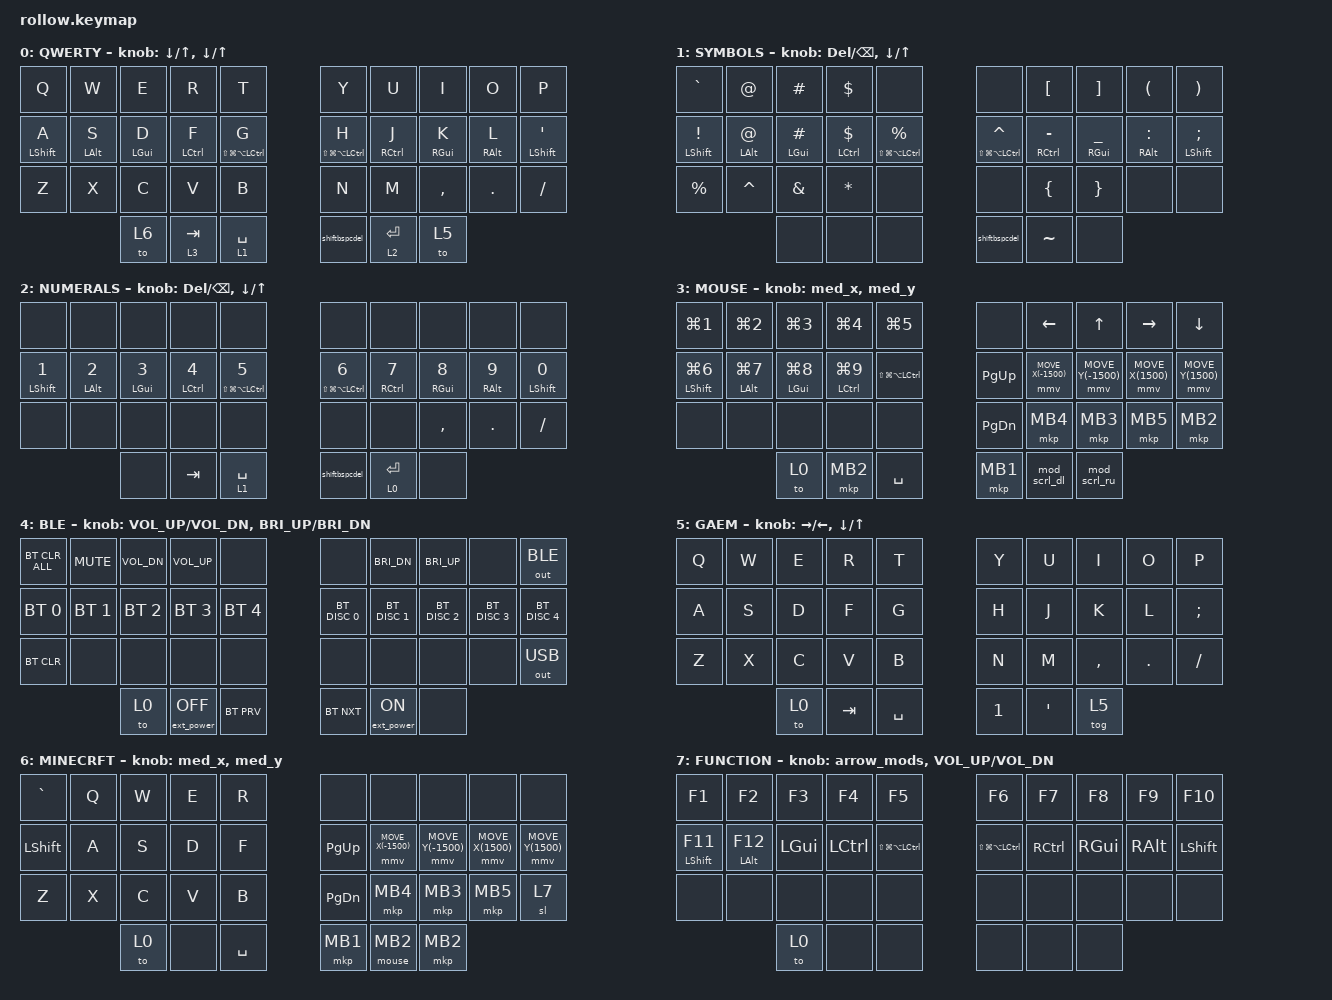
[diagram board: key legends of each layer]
//sudo west build -p -d build/left -b nice_nano_v2 -- -DSHIELD=rollow_left -DZMK_EXTRA_MODULES=/Users/ameer/keyboard/zmk-config
//sudo west build -p -d build/right -b nice_nano_v2 -- -DSHIELD=rollow_right -DZMK_EXTRA_MODULES=/Users/ameer/keyboard/zmk-config

#include <behaviors.dtsi>
#include <dt-bindings/zmk/keys.h>
#include <dt-bindings/zmk/mouse.h>
#include <dt-bindings/zmk/outputs.h>
#include <dt-bindings/zmk/bt.h>
#include <dt-bindings/zmk/ext_power.h>

&caps_word {
    continue-list = <UNDERSCORE MINUS BSPC>;
};

/ {
combos {
        compatible = "zmk,combos";
        combo_escape {
            timeout-ms = <50>;
            key-positions = <31 34>;
            bindings = <&kp ESC>;
            };
};
behaviors {    
        msc: mouse_scroll {
            compatible = "zmk,behavior-input-two-axis";
            #binding-cells = <1>;
            x-input-code = <INPUT_REL_HWHEEL>;
            y-input-code = <INPUT_REL_WHEEL>;
            time-to-max-speed-ms = <300>;
            acceleration-exponent = <0>;
        };
        mmv: mouse_move {
            compatible = "zmk,behavior-input-two-axis";
            #binding-cells = <1>;
            x-input-code = <INPUT_REL_X>;
            y-input-code = <INPUT_REL_Y>;
            time-to-max-speed-ms = <300>;
            acceleration-exponent = <1>;
        };
        hr: homerow_mods {
            compatible = "zmk,behavior-hold-tap";
            #binding-cells = <2>;
            flavor = "tap-preferred";
            tapping-term-ms = <200>;
            require-prior-idle-ms = <200>;
            bindings = <&kp>, <&kp>;
        };  
        kpkphp: kpkphp {
            compatible = "zmk,behavior-hold-tap";
            #binding-cells = <2>;
            tapping_term_ms = <200>;
            quick_tap_ms = <200>;
            flavor = "hold-preferred";
            bindings = <&kp>, <&kp>;
        }; 
         mousemkphp: mousemokphp {
            compatible = "zmk,behavior-hold-tap";
            #binding-cells = <2>;
            flavor = "hold-preferred";
            tapping-term-ms = <200>;
            bindings = <&mouse>, <&mkp>;
        };  
         mokphp: mokphp {
            compatible = "zmk,behavior-hold-tap";
            #binding-cells = <2>;
            flavor = "hold-preferred"; 
            tapping-term-ms = <200>;
            bindings = <&mo>, <&kp>;
        };  
         mokptp: mokptp {
            compatible = "zmk,behavior-hold-tap";
            #binding-cells = <2>;
            flavor = "tap-preferred";
            tapping-term-ms = <200>;
            bindings = <&mo>, <&kp>;
        };  
         mokpb: mokpb {
            compatible = "zmk,behavior-hold-tap";
            #binding-cells = <2>;
            flavor = "balanced";
            tapping-term-ms = <200>;
            bindings = <&mo>, <&kp>;
        };  
         monavguitog: monavguitog {
            compatible = "zmk,behavior-hold-tap";
            #binding-cells = <2>;
            flavor = "hold-preferred";
            tapping-term-ms = <150>;
            bindings = <&monavgui>, <&tog>;
        };  
         moto: moto {
            compatible = "zmk,behavior-hold-tap";
            #binding-cells = <2>;
            flavor = "tap-preferred";
            tapping-term-ms = <150>;
            bindings = <&mo>, <&to>;
        };  
        skq: sticky_key_quick_release {
            compatible = "zmk,behavior-sticky-key";
            #binding-cells = <1>;
            bindings = <&kp>;
            release-after-ms = <1000>;
            quick-release;
            ignore-modifiers;
        };
         moskq: moment_sticky_quick_release {
            compatible = "zmk,behavior-hold-tap";
            #binding-cells = <2>;
            flavor = "balanced";
            tapping-term-ms = <150>;
            bindings = <&mo>, <&skq>;
        };  
        shiftbspcdel: shift_backspace_delete {
            compatible = "zmk,behavior-mod-morph";
            #binding-cells = <0>;
            bindings = <&kpkphp RSHIFT BSPC>, <&kpkphp RSHIFT DEL>;
            mods = <(MOD_LSFT)>;
        };
        mod_scrl_dl: scroll_down_left {
            compatible = "zmk,behavior-mod-morph";
            #binding-cells = <0>;
            bindings = <&msc MOVE_Y(16)>, <&msc MOVE_X(16)>;
            mods = <(MOD_LSFT)>;
        };
        mod_scrl_ru: scroll_right_up {
            compatible = "zmk,behavior-mod-morph";
            #binding-cells = <0>;
            bindings = <&msc MOVE_Y(-16)>, <&msc MOVE_X(-16)>;
            mods = <(MOD_LSFT)>;
        };
        mod_mousel: mouse_left_boost {
            compatible = "zmk,behavior-mod-morph";
            #binding-cells = <0>;
            bindings = <&mmv MOVE_X(-1500)>, <&mmv MOVE_X(-3000)>;
            mods = <(MOD_LSFT)>;
        };
        mod_mouser: mouse_right_boost {
            compatible = "zmk,behavior-mod-morph";
            #binding-cells = <0>;
            bindings = <&mmv MOVE_X(1500)>, <&mmv MOVE_X(3000)>;
            mods = <(MOD_LSFT)>;
        };
        mod_mouseu: mouse_up_boost {
            compatible = "zmk,behavior-mod-morph";
            #binding-cells = <0>;
            bindings = <&mmv MOVE_Y(-1500)>, <&mmv MOVE_Y(-3000)>;
            mods = <(MOD_LSFT)>;
        };
        mod_moused: mouse_down_boost {
            compatible = "zmk,behavior-mod-morph";
            #binding-cells = <0>;
            bindings = <&mmv MOVE_Y(1500)>, <&mmv MOVE_Y(3000)>;
            mods = <(MOD_LSFT)>;
        };
//----------------------ARROW MODS-------------------------
        left_backspace: left_backspace {
            compatible = "zmk,behavior-mod-morph";
            #binding-cells = <0>;
            bindings = <&kp LEFT>, <&kp BSPC>;
            mods = <(MOD_LCTL)>;
        };
        right_delete: right_delete {
            compatible = "zmk,behavior-mod-morph";
            #binding-cells = <0>;
            bindings = <&kp RIGHT>, <&kp DEL>;
            mods = <(MOD_LCTL)>;
        };
        left_alt_backspace: left_alt_backspace {
            compatible = "zmk,behavior-mod-morph";
            #binding-cells = <0>;
            bindings = <&left_backspace>, <&kp LA(BSPC)>;
            mods = <(MOD_RCTL)>;
        };
        right_alt_delete: right_alt_delete {
            compatible = "zmk,behavior-mod-morph";
            #binding-cells = <0>;
            bindings = <&right_delete>, <&kp LA(DEL)>;
            mods = <(MOD_RCTL)>;
        };
        arrow_mods: arrow_mods {
            compatible = "zmk,behavior-sensor-rotate";
            #sensor-binding-cells = <0>;
            bindings = <&right_alt_delete>, <&left_alt_backspace>;
        };
//--------------------MOUSE SCROLL ROTARY ENCODER FIX--------------------
        slow_y: slow_y {
            compatible = "zmk,behavior-sensor-rotate";
            #sensor-binding-cells = <0>;
            bindings = <&downslow>, <&upslow>;
        };
        slow_x: slow_x {
            compatible = "zmk,behavior-sensor-rotate";
            #sensor-binding-cells = <0>;
            bindings = <&rightslow>, <&leftslow>;
        };
        med_y: med_y {
            compatible = "zmk,behavior-sensor-rotate";
            #sensor-binding-cells = <0>;
            bindings = <&downmed>, <&upmed>;
        };
        med_x: med_x {
            compatible = "zmk,behavior-sensor-rotate";
            #sensor-binding-cells = <0>;
            bindings = <&rightmed>, <&leftmed>;
        };
        fast_y: fast_y {
            compatible = "zmk,behavior-sensor-rotate";
            #sensor-binding-cells = <0>;
            bindings = <&downfast>, <&upfast>;
        };
        fast_x: fast_x {
            compatible = "zmk,behavior-sensor-rotate";
            #sensor-binding-cells = <0>;
            bindings = <&rightfast>, <&leftfast>;
        };
        
macros {
        upslow: upslow {
            compatible = "zmk,behavior-macro";
            #binding-cells = <0>;
            bindings
                = <&macro_tap_time 3>
                , <&msc MOVE_Y(-40)>;
         };
        downslow: downslow {
            compatible = "zmk,behavior-macro";
            #binding-cells = <0>;
            bindings
                = <&macro_tap_time 3>
                , <&msc MOVE_Y(40)>;
         };
        leftslow: leftslow {
            compatible = "zmk,behavior-macro";
            #binding-cells = <0>;
            bindings
                = <&macro_tap_time 3>
                , <&msc MOVE_X(40)>;
         };
        rightslow: rightslow {
            compatible = "zmk,behavior-macro";
            #binding-cells = <0>;
            bindings
                = <&macro_tap_time 3>
                , <&msc MOVE_X(-40)>;
         };
        upmed: upmed {
            compatible = "zmk,behavior-macro";
            #binding-cells = <0>;
            bindings
                = <&macro_tap_time 3>
                , <&msc MOVE_Y(-200)>;
         };
        downmed: downmed {
            compatible = "zmk,behavior-macro";
            #binding-cells = <0>;
            bindings
                = <&macro_tap_time 3>
                , <&msc MOVE_Y(200)>;
         };
        leftmed: leftmed {
            compatible = "zmk,behavior-macro";
            #binding-cells = <0>;
            bindings
                = <&macro_tap_time 3>
                , <&msc MOVE_X(200)>;
         };
        rightmed: rightmed {
            compatible = "zmk,behavior-macro";
            #binding-cells = <0>;
            bindings
                = <&macro_tap_time 3>
                , <&msc MOVE_X(-200)>;
         };
        upfast: upfast {
            compatible = "zmk,behavior-macro";
            #binding-cells = <0>;
            bindings
                = <&macro_tap_time 3>
                , <&msc MOVE_Y(-1000)>;
         };
        downfast: downfast {
            compatible = "zmk,behavior-macro";
            #binding-cells = <0>;
            bindings
                = <&macro_tap_time 3>
                , <&msc MOVE_Y(1000)>;
         };
        leftfast: leftfast {
            compatible = "zmk,behavior-macro";
            #binding-cells = <0>;
            bindings
                = <&macro_tap_time 3>
                , <&msc MOVE_X(1000)>;
         };
        rightfast: rightfast {
            compatible = "zmk,behavior-macro";
            #binding-cells = <0>;
            bindings
                = <&macro_tap_time 3>
                , <&msc MOVE_X(-1000)>;
         };
//-----------------------------------------------------------
        monavgui: monavgui {
            compatible = "zmk,behavior-macro";
            #binding-cells = <0>;
            bindings
                = <&macro_press &mo 7 &kp LGUI>
                , <&macro_pause_for_release>
                , <&macro_release &kp LGUI &mo 7>;
         };
        up: up {
            compatible = "zmk,behavior-macro";
            #binding-cells = <0>;
            bindings
                = <&macro_release &kp LGUI>
                , <&macro_press &kp UP>
                , <&macro_pause_for_release>
                , <&macro_release &kp UP>
                , <&macro_press &kp LGUI>
                , <&macro_pause_for_release>
                , <&macro_release &kp LGUI>;
         };
        down: down {
            compatible = "zmk,behavior-macro";
            #binding-cells = <0>;
            bindings
                = <&macro_release &kp LGUI>
                , <&macro_press &kp DOWN>
                , <&macro_pause_for_release>
                , <&macro_release &kp DOWN>
                , <&macro_press &kp LGUI>
                , <&macro_pause_for_release>
                , <&macro_release &kp LGUI>;
         };
        left: left {
            compatible = "zmk,behavior-macro";
            #binding-cells = <0>;
            bindings
                = <&macro_release &kp LGUI>
                , <&macro_press &kp LEFT>
                , <&macro_pause_for_release>
                , <&macro_release &kp LEFT>
                , <&macro_press &kp LGUI>
                , <&macro_pause_for_release>
                , <&macro_release &kp LGUI>;
         };
        right: right {
            compatible = "zmk,behavior-macro";
            #binding-cells = <0>;
            bindings
                = <&macro_release &kp LGUI>
                , <&macro_press &kp RIGHT>
                , <&macro_pause_for_release>
                , <&macro_release &kp RIGHT>
                , <&macro_press &kp LGUI>
                , <&macro_pause_for_release>
                , <&macro_release &kp LGUI>;
         };
        mouse: mouse {
            compatible = "zmk,behavior-macro";
            #binding-cells = <0>;
            bindings
                = <&macro_press &to 2>
                , <&macro_pause_for_release>
                , <&macro_press &to 6>;
         };
    };
    keymap {
        compatible = "zmk,keymap";
        0 {
            display-name = "QWERTY"; // 8 character max
bindings = <
&kp Q &kp W &kp E &kp R &kp T                                                &kp Y &kp U &kp I &kp O &kp P
&hr LSHIFT A &hr LALT S &hr LGUI D &hr LCTRL F &hr LS(LG(LA(LCTRL))) G       &hr LS(LG(LA(LCTRL))) H &hr RCTRL J &hr RGUI K &hr RALT L &hr LSHIFT APOS
&kp Z &kp X &kp C &kp V &kp B                                                &kp N &kp M &kp COMMA &kp DOT &kp SLASH
&to 6 &mokphp 3 TAB &mokpb 1 SPACE                                     &shiftbspcdel &mokphp 2 RETURN &to 5
              >;
            sensor-bindings = <&inc_dec_kp DOWN UP &inc_dec_kp DOWN UP>; //clockwise counterclockwise
        };
        1 {
            display-name = "SYMBOLS";
bindings = <
&kp GRAVE &kp AT &kp HASH &kp DOLLAR &none                                                                          &none &kp LBKT &kp RBKT &kp LPAR &kp RPAR
&hr LSHIFT EXCLAMATION &hr LALT AT &hr LGUI HASH &hr LCTRL DOLLAR &hr LS(LG(LA(LCTRL))) PERCENT  &hr LS(LG(LA(LCTRL))) CARET &hr RCTRL MINUS &hr RGUI UNDER &hr RALT COLON &hr LSHIFT SEMI 
&kp PERCENT &kp CARET &kp AMPS &kp STAR &none                                                          &none &kp LBRC &kp RBRC &none &none
&none &none &none                                                                                 &shiftbspcdel &kp TILDE &none
              >;
            sensor-bindings = <&inc_dec_kp DEL BSPC &inc_dec_kp DOWN UP>; //clockwise counterclockwise
        };  
        2 {
            display-name = "NUMERALS";
bindings = <
&none &none &none &none &none                                                            &none &none &none &none &none
&hr LSHIFT N1 &hr LALT N2 &hr LGUI N3 &hr LCTRL N4 &hr LS(LG(LA(LCTRL))) N5           &hr LS(LG(LA(LCTRL))) N6 &hr RCTRL N7 &hr RGUI N8 &hr RALT N9 &hr LSHIFT N0
&none &none &none &none &none                                                                                  &none &none &kp COMMA &kp DOT &kp SLASH
&none &kp TAB &mokpb 1 SPACE                                                                                                       &shiftbspcdel &mokphp 0 RETURN &none
              >;
            sensor-bindings = <&inc_dec_kp DEL BSPC &inc_dec_kp DOWN UP>; //clockwise counterclockwise
        };
        3 {
            display-name = "MOUSE";
bindings = <
&kp LG(N1) &kp LG(N2) &kp LG(N3) &kp LG(N4) &kp LG(N5)                                &none &kp LEFT &kp UP &kp RIGHT &kp DOWN
&hr LSHIFT LG(N6) &hr LALT LG(N7) &hr LGUI LG(N8) &hr LCTRL LG(N9) &kp LS(LG(LA(LCTRL))) &kp PG_UP &mmv MOVE_X(-1500) &mmv MOVE_Y(-1500) &mmv MOVE_X(1500) &mmv MOVE_Y(1500) 
&none &none &none &none &none                                  &kp PG_DN &mkp MB4 &mkp MB3 &mkp MB5 &mkp MB2
            &to 0 &mkp MB2 &kp SPACE                                                 &mkp MB1 &mod_scrl_dl &mod_scrl_ru
              >;
            sensor-bindings = <&med_x &med_y>; //clockwise counterclockwise
        };
        4 {
            display-name = "BLE";
bindings = <
&bt BT_CLR_ALL &kp K_MUTE &kp C_VOL_DN &kp C_VOL_UP &none                              &none &kp C_BRI_DN &kp C_BRI_UP &none &out OUT_BLE
&bt BT_SEL 0 &bt BT_SEL 1 &bt BT_SEL 2 &bt BT_SEL 3 &bt BT_SEL 4    &bt BT_DISC 0 &bt BT_DISC 1 &bt BT_DISC 2 &bt BT_DISC 3 &bt BT_DISC 4  
&bt BT_CLR &none &none &none &none                                 &none &none &none &none &out OUT_USB 
            &to 0 &ext_power EP_OFF &bt BT_PRV                                &bt BT_NXT &ext_power EP_ON &none
              >;
            sensor-bindings = <&inc_dec_kp C_VOL_UP C_VOL_DN &inc_dec_kp C_BRI_UP C_BRI_DN>; //clockwise counterclockwise
        };
        5 {
            display-name = "GAEM"; // 8 character max
bindings = <
&kp Q &kp W &kp E &kp R &kp T               &kp Y &kp U &kp I &kp O &kp P
&kp A &kp S &kp D &kp F &kp G               &kp H &kp J &kp K &kp L &kp SEMI
&kp Z &kp X &kp C &kp V &kp B               &kp N &kp M &kp COMMA &kp DOT &kp SLASH
&to 0 &kp TAB &kp SPACE                 &kp N1 &kp APOS &tog 5
              >;
            sensor-bindings = <&inc_dec_kp RIGHT LEFT &inc_dec_kp DOWN UP>;
        };
        6 {
            display-name = "MINECRFT";
bindings = <
&kp GRAVE &kp Q &kp W &kp E &kp R                              &none &none &none &none &none 
&kp LSHIFT &kp A &kp S &kp D &kp F                         &kp PG_UP &mmv MOVE_X(-1500) &mmv MOVE_Y(-1500) &mmv MOVE_X(1500) &mmv MOVE_Y(1500) 
&kp Z &kp X &kp C &kp V &kp B                               &kp PG_DN &mkp MB4 &mkp MB3 &mkp MB5 &sl 7
            &to 0 &none &kp SPACE                      &mkp MB1 &mousemkphp 0 MB2 &mkp MB2
              >;
            sensor-bindings = <&med_x &med_y>; //clockwise counterclockwise
        };
        7 {
            display-name = "FUNCTION";
bindings = <
&kp F1 &kp F2 &kp F3 &kp F4 &kp F5           &kp F6 &kp F7 &kp F8 &kp F9 &kp F10
&hr LSHIFT F11 &hr LALT F12 &kp LGUI &kp LCTRL &kp LS(LG(LA(LCTRL))) &kp LS(LG(LA(LCTRL))) &kp RCTRL &kp RGUI &kp RALT &kp LSHIFT  
&none &none &none &none &none                &none &none &none &none &none
      &to 0 &none &none                     &none &none &none
              >;
            sensor-bindings = <&arrow_mods &inc_dec_kp C_VOL_UP C_VOL_DN>; //clockwise counterclockwise
            };
        };
    };
};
